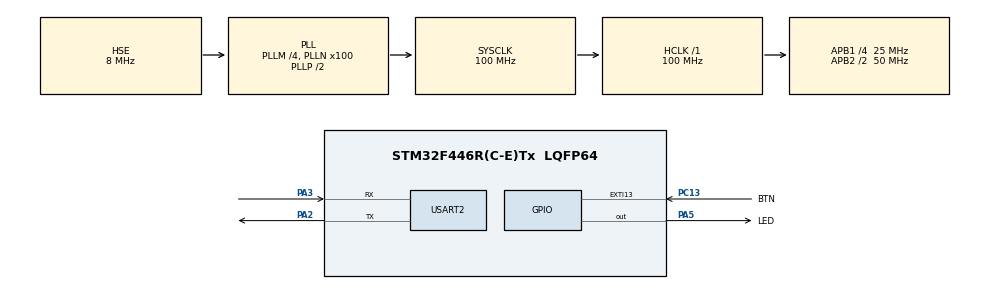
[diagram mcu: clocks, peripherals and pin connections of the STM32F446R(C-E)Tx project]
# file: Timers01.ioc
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Mcu.Family=STM32F4
Mcu.Name=STM32F446R(C-E)Tx
Mcu.Package=LQFP64
NVIC.EXTI15_10_IRQn=true\:0\:0\:false\:false\:true\:true\:true\:true
NVIC.PriorityGroup=NVIC_PRIORITYGROUP_4
NVIC.TIM4_IRQn=true\:0\:0\:false\:false\:true\:true\:true\:true
PA13.Mode=Serial_Wire
PA13.Signal=SYS_JTMS-SWDIO
PA14.Mode=Serial_Wire
PA14.Signal=SYS_JTCK-SWCLK
PA2.Mode=Asynchronous
PA2.Signal=USART2_TX
PA3.Mode=Asynchronous
PA3.Signal=USART2_RX
PA5.GPIO_Label=LED
PA5.PinState=GPIO_PIN_SET
PA5.Signal=GPIO_Output
PC13.GPIO_Label=BTN
PC13.GPIO_PuPd=GPIO_PULLUP
PC13.Signal=GPXTI13
PH0-OSC_IN.Mode=HSE-External-Oscillator
PH0-OSC_IN.Signal=RCC_OSC_IN
PH1-OSC_OUT.Mode=HSE-External-Oscillator
PH1-OSC_OUT.Signal=RCC_OSC_OUT
ProjectManager.HeapSize=0x200
ProjectManager.StackSize=0x400
ProjectManager.TargetToolchain=STM32CubeIDE
RCC.AHBFreq_Value=100000000
RCC.APB1CLKDivider=RCC_HCLK_DIV4
RCC.APB1Freq_Value=25000000
RCC.APB1TimFreq_Value=50000000
RCC.APB2CLKDivider=RCC_HCLK_DIV2
RCC.APB2Freq_Value=50000000
RCC.APB2TimFreq_Value=100000000
RCC.CortexFreq_Value=100000000
RCC.HCLKFreq_Value=100000000
RCC.HSE_VALUE=8000000
RCC.PLLM=4
RCC.PLLN=100
RCC.PLLSourceVirtual=RCC_PLLSOURCE_HSE
RCC.SYSCLKFreq_VALUE=100000000
RCC.SYSCLKSource=RCC_SYSCLKSOURCE_PLLCLK
RCC.USBFreq_Value=100000000
RCC.VCOOutputFreq_Value=200000000
TIM4.Period=2499
TIM4.Prescaler=9999
USART2.VirtualMode=VM_ASYNC
VP_TIM4_VS_ClockSourceINT.Mode=Internal
board=custom

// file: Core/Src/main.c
/* USER CODE BEGIN Header */
/**
 ******************************************************************************
 * @file           : main.c
 * @brief          : Main program body
 ******************************************************************************
 * @attention
 *
 * Copyright (c) 2026 STMicroelectronics.
 * All rights reserved.
 *
 * This software is licensed under terms that can be found in the LICENSE file
 * in the root directory of this software component.
 * If no LICENSE file comes with this software, it is provided AS-IS.
 *
 ******************************************************************************
 */
/* USER CODE END Header */
#include "main.h"

/* USER CODE BEGIN Includes */
#include <stdlib.h>
#include <stdio.h>
/* USER CODE END Includes */

TIM_HandleTypeDef htim4;

UART_HandleTypeDef huart2;

/* USER CODE BEGIN PV */
uint8_t buttonPressed = 0;

uint32_t blinkDelays[] =
		{ 1000, 500, 250, 100 };

uint16_t blinkDelay = 0;
uint8_t delaysIndex = 0;
/* USER CODE END PV */

void SystemClock_Config(void);
static void MX_GPIO_Init(void);
static void MX_USART2_UART_Init(void);
static void MX_TIM4_Init(void);

/* USER CODE BEGIN 0 */
int _write(int file, char *ptr, int len)
{
	HAL_UART_Transmit(&huart2, (uint8_t*) ptr, len, HAL_MAX_DELAY);
	return len;
}

void HAL_GPIO_EXTI_Callback(uint16_t GPIO_Pin)
{
	if (GPIO_Pin == BTN_Pin)
	{
		buttonPressed = 1;
	}
}

// Timer interrupt code
void HAL_TIM_PeriodElapsedCallback(TIM_HandleTypeDef *htim)
{
	HAL_GPIO_TogglePin(LED_GPIO_Port, LED_Pin);

	printf("Timer interrupt!\r\n");
}

/* USER CODE END 0 */

int main(void)
{

	/* MCU Configuration--------------------------------------------------------*/

	/* Reset of all peripherals, Initializes the Flash interface and the Systick. */
	HAL_Init();

	/* Configure the system clock */
	SystemClock_Config();

	/* Initialize all configured peripherals */
	MX_GPIO_Init();
	MX_USART2_UART_Init();
	MX_TIM4_Init();
	/* USER CODE BEGIN 2 */
	printf("Starting Timers01...\r\n");
	/* USER CODE END 2 */

	/* Infinite loop */
	/* USER CODE BEGIN WHILE */

	HAL_TIM_Base_Start_IT(&htim4);

	uint32_t msSinceReset = 0;
	uint32_t nextTick = 0;

	while (1)
	{
		msSinceReset = HAL_GetTick(); // number of milliseconds since power on or reset

		if (msSinceReset >= nextTick)
		{
			printf("Tick %lu\r\n", msSinceReset / 1000);

			nextTick = msSinceReset + 1000;
		}

		/* USER CODE END WHILE */

	}
}

void SystemClock_Config(void)
{
	RCC_OscInitTypeDef RCC_OscInitStruct =
			{ 0 };
	RCC_ClkInitTypeDef RCC_ClkInitStruct =
			{ 0 };

	/** Configure the main internal regulator output voltage
	 */
	__HAL_RCC_PWR_CLK_ENABLE();
	__HAL_PWR_VOLTAGESCALING_CONFIG(PWR_REGULATOR_VOLTAGE_SCALE3);

	/** Initializes the RCC Oscillators according to the specified parameters
	 * in the RCC_OscInitTypeDef structure.
	 */
	RCC_OscInitStruct.OscillatorType = RCC_OSCILLATORTYPE_HSE;
	RCC_OscInitStruct.HSEState = RCC_HSE_ON;
	RCC_OscInitStruct.PLL.PLLState = RCC_PLL_ON;
	RCC_OscInitStruct.PLL.PLLSource = RCC_PLLSOURCE_HSE;
	RCC_OscInitStruct.PLL.PLLM = 4;
	RCC_OscInitStruct.PLL.PLLN = 100;
	RCC_OscInitStruct.PLL.PLLP = RCC_PLLP_DIV2;
	RCC_OscInitStruct.PLL.PLLQ = 2;
	RCC_OscInitStruct.PLL.PLLR = 2;
	if (HAL_RCC_OscConfig(&RCC_OscInitStruct) != HAL_OK)
	{
		Error_Handler();
	}

	/** Initializes the CPU, AHB and APB buses clocks
	 */
	RCC_ClkInitStruct.ClockType = RCC_CLOCKTYPE_HCLK | RCC_CLOCKTYPE_SYSCLK
			| RCC_CLOCKTYPE_PCLK1 | RCC_CLOCKTYPE_PCLK2;
	RCC_ClkInitStruct.SYSCLKSource = RCC_SYSCLKSOURCE_PLLCLK;
	RCC_ClkInitStruct.AHBCLKDivider = RCC_SYSCLK_DIV1;
	RCC_ClkInitStruct.APB1CLKDivider = RCC_HCLK_DIV4;
	RCC_ClkInitStruct.APB2CLKDivider = RCC_HCLK_DIV2;

	if (HAL_RCC_ClockConfig(&RCC_ClkInitStruct, FLASH_LATENCY_3) != HAL_OK)
	{
		Error_Handler();
	}
}

static void MX_TIM4_Init(void)
{

	TIM_ClockConfigTypeDef sClockSourceConfig =
			{ 0 };
	TIM_MasterConfigTypeDef sMasterConfig =
			{ 0 };

	htim4.Instance = TIM4;
	htim4.Init.Prescaler = 9999;
	htim4.Init.CounterMode = TIM_COUNTERMODE_UP;
	htim4.Init.Period = 2499;
	htim4.Init.ClockDivision = TIM_CLOCKDIVISION_DIV1;
	htim4.Init.AutoReloadPreload = TIM_AUTORELOAD_PRELOAD_DISABLE;
	if (HAL_TIM_Base_Init(&htim4) != HAL_OK)
	{
		Error_Handler();
	}
	sClockSourceConfig.ClockSource = TIM_CLOCKSOURCE_INTERNAL;
	if (HAL_TIM_ConfigClockSource(&htim4, &sClockSourceConfig) != HAL_OK)
	{
		Error_Handler();
	}
	sMasterConfig.MasterOutputTrigger = TIM_TRGO_RESET;
	sMasterConfig.MasterSlaveMode = TIM_MASTERSLAVEMODE_DISABLE;
	if (HAL_TIMEx_MasterConfigSynchronization(&htim4, &sMasterConfig) != HAL_OK)
	{
		Error_Handler();
	}

}

static void MX_USART2_UART_Init(void)
{

	huart2.Instance = USART2;
	huart2.Init.BaudRate = 115200;
	huart2.Init.WordLength = UART_WORDLENGTH_8B;
	huart2.Init.StopBits = UART_STOPBITS_1;
	huart2.Init.Parity = UART_PARITY_NONE;
	huart2.Init.Mode = UART_MODE_TX_RX;
	huart2.Init.HwFlowCtl = UART_HWCONTROL_NONE;
	huart2.Init.OverSampling = UART_OVERSAMPLING_16;
	if (HAL_UART_Init(&huart2) != HAL_OK)
	{
		Error_Handler();
	}

}

static void MX_GPIO_Init(void)
{
	GPIO_InitTypeDef GPIO_InitStruct =
			{ 0 };

	/* GPIO Ports Clock Enable */
	__HAL_RCC_GPIOC_CLK_ENABLE();
	__HAL_RCC_GPIOH_CLK_ENABLE();
	__HAL_RCC_GPIOA_CLK_ENABLE();

	/*Configure GPIO pin Output Level */
	HAL_GPIO_WritePin(LED_GPIO_Port, LED_Pin, GPIO_PIN_SET);

	/*Configure GPIO pin : BTN_Pin */
	GPIO_InitStruct.Pin = BTN_Pin;
	GPIO_InitStruct.Mode = GPIO_MODE_IT_RISING;
	GPIO_InitStruct.Pull = GPIO_PULLUP;
	HAL_GPIO_Init(BTN_GPIO_Port, &GPIO_InitStruct);

	/*Configure GPIO pin : LED_Pin */
	GPIO_InitStruct.Pin = LED_Pin;
	GPIO_InitStruct.Mode = GPIO_MODE_OUTPUT_PP;
	GPIO_InitStruct.Pull = GPIO_NOPULL;
	GPIO_InitStruct.Speed = GPIO_SPEED_FREQ_LOW;
	HAL_GPIO_Init(LED_GPIO_Port, &GPIO_InitStruct);

	/* EXTI interrupt init*/
	HAL_NVIC_SetPriority(EXTI15_10_IRQn, 0, 0);
	HAL_NVIC_EnableIRQ(EXTI15_10_IRQn);

}

void Error_Handler(void)
{
	__disable_irq();
	while (1)
	{
	}
}
